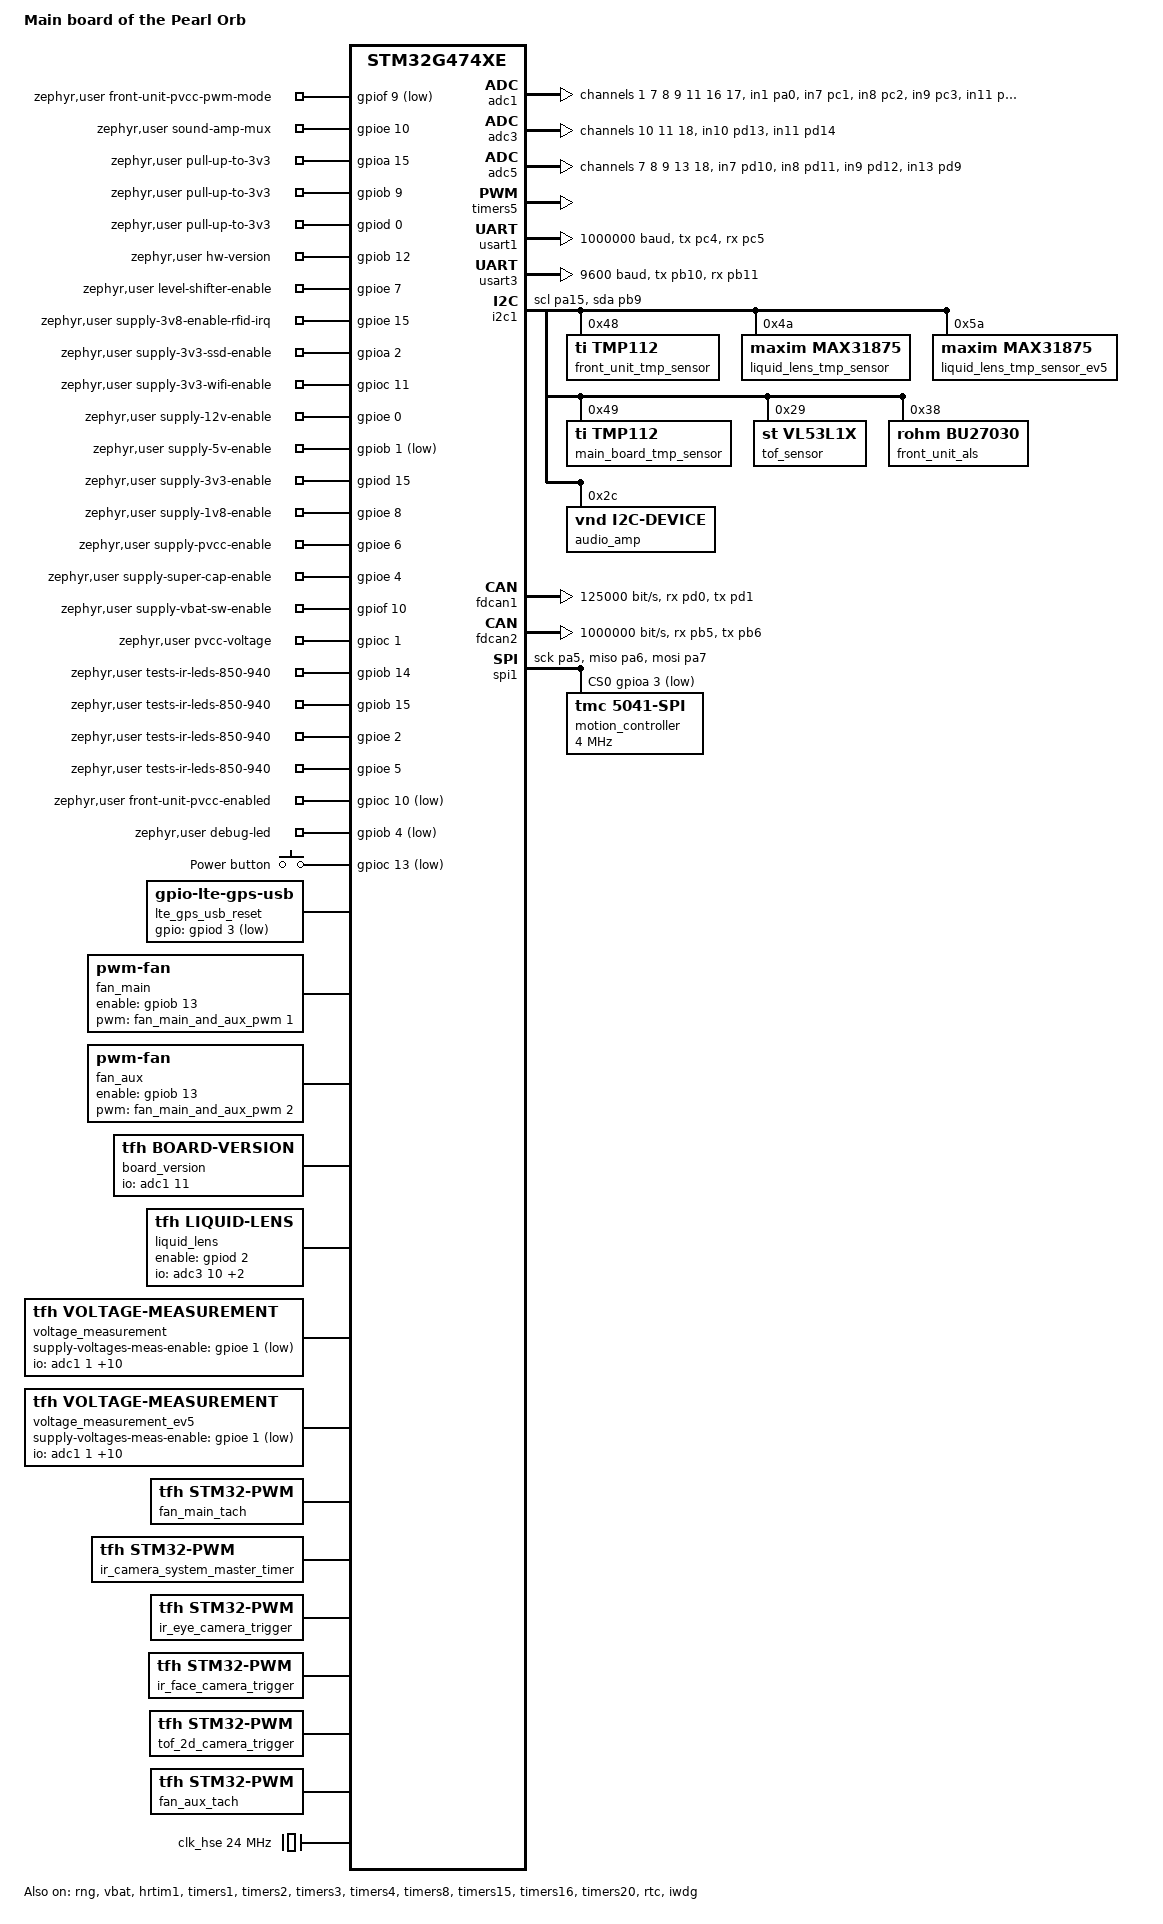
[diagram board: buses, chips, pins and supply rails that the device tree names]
/dts-v1/;
#include <st/g4/stm32g474Xe.dtsi>
#include <st/g4/stm32g474v(b-c-e)tx-pinctrl.dtsi>
#include "../stm32g474-hrtim.dtsi"

// see stm32g4xx_ll_dmamux.h
#define DMAMUX_REQ_USART1_RX 0x18
#define DMAMUX_REQ_USART1_TX 0x19
#define DMAMUX_REQ_USART3_RX 0x1C
#define DMAMUX_REQ_USART3_TX 0x1D
#define DMAMUX_REQ_TIM1_UP   0x2E
#define DMAMUX_REQ_TIM20_UP  0x5A

#define DMA_CONFIG_DIR_SHIFT 6
#define DMA_DIR_MEM_TO_PERIPH 1
#define DMA_DIR_PERIPH_TO_MEM 2
#define DMA_MEM_INC_ADDR_SHIFT 10

#define DMA_CONFIG_CYCLIC_SHIFT  5
#define DMA_CONFIG_CIRCULAR_MODE  1


/ {
    model = "Main board of the Pearl Orb";
    compatible = "tfh,pearl_main";

    chosen {
        // app in slot0_partition by default
        // the bootloader uses an overlay to redefine this
        zephyr,code-partition = &slot0_partition;

        zephyr,sram = &sram0;
        zephyr,flash = &flash0;
        zephyr,canbus = &fdcan1;
    };

    aliases {
        battery-can-bus = &fdcan2;
        watchdog0 = &iwdg;
        secondary-slot = &slot1_partition;
        rtc = &rtc;
    };

    zephyr,user {
        front-unit-pvcc-pwm-mode-gpios = <&gpiof 9 GPIO_ACTIVE_LOW>;
        // This is a mux for who controls the audio amp
        // 1 == MCU

        // 0 == Jetson
        sound-amp-mux-gpios = <&gpioe 10 GPIO_ACTIVE_HIGH>;

        // hooked to 3v3 by pull-up resistors or ESD protection diodes within connected ICs
        // turn low when booting to ensure 3v3 (uc) does not propagate to 3v3 power rail
        // which would trigger the safety circuitry
        pull-up-to-3v3-gpios =
                <&gpioa 15 GPIO_ACTIVE_HIGH> /* i2c scl */,
                <&gpiob 9 GPIO_ACTIVE_HIGH> /* i2c sda */,
                <&gpiod 0 GPIO_ACTIVE_HIGH> /* can1 rx (single wire can) */;

        // GPIO used to get hardware version dynamically
        hw-version-gpios = <&gpiob 12 GPIO_ACTIVE_HIGH>;
        jetson_serial = <&usart1>;
        gnss = <&usart3>;
        level-shifter-enable-gpios = <&gpioe 7 GPIO_ACTIVE_HIGH>;
        // enable pin for +3V8 converter on EV1...4, RFID_IRQ on EV5
        supply-3v8-enable-rfid-irq-gpios = <&gpioe 15 GPIO_ACTIVE_HIGH>;
        // enable pin for +3V3_SSD and +3V3_WIFI only on EV5
        supply-3v3-ssd-enable-gpios = <&gpioa 2 GPIO_ACTIVE_HIGH>;
        supply-3v3-wifi-enable-gpios = <&gpioc 11 GPIO_ACTIVE_HIGH>;
        supply-12v-enable-gpios = <&gpioe 0 GPIO_ACTIVE_HIGH>;
        supply-5v-enable-gpios = <&gpiob 1 GPIO_ACTIVE_LOW>;
        supply-3v3-enable-gpios = <&gpiod 15 GPIO_ACTIVE_HIGH>;
        supply-1v8-enable-gpios = <&gpioe 8 GPIO_ACTIVE_HIGH>;
        supply-pvcc-enable-gpios = <&gpioe 6 GPIO_ACTIVE_HIGH>;
        supply-super-cap-enable-gpios = <&gpioe 4 GPIO_ACTIVE_HIGH>;
        supply-vbat-sw-enable-gpios = <&gpiof 10 GPIO_ACTIVE_HIGH>;

        // used by boot.c when voltage measurements module is not available yet
        pvcc-voltage-gpios = <&gpioc 1 GPIO_ACTIVE_HIGH>;

        tests-ir-leds-850-940-gpios =
            <&gpiob 14 GPIO_ACTIVE_HIGH /* 850nm left */ >,
            <&gpiob 15 GPIO_ACTIVE_HIGH /* 850nm right */ >,
            <&gpioe 2 GPIO_ACTIVE_HIGH /* 940nm left */ >,
            <&gpioe 5 GPIO_ACTIVE_HIGH /* 940nm right */ >;
        front-unit-pvcc-enabled-gpios = <&gpioc 10 GPIO_ACTIVE_LOW>;

        debug-led-gpios = <&gpiob 4 GPIO_ACTIVE_LOW>;

        // Voltage at VREF+ pin on EV5 hardware (in contrast VREF+ is connected to VDD on EV1...4)
        ev5-vref-mv = <2048>;

        // VREF+ is connected to VDD on EV1...4
        ev1-vref-mv = <3300>;
    };

    buttons {
        compatible = "gpio-keys";

        power_button {
            gpios = <&gpioc 13 GPIO_ACTIVE_LOW>;
            label = "Power button";
        };
    };

    jetson_power_pins {
        compatible = "gpio-jetson-power";

        shutdown_request {
            // input
            // Jetson module uses this to request a shutdown sequence
            gpios = <&gpiob 7 GPIO_ACTIVE_LOW>;
        };

        power_enable {
            // output
            // this signals the Jetson module to turn on an off
            gpios = <&gpioe 12 GPIO_ACTIVE_HIGH>;
        };

        system_reset {
            // bidirectional
            // drive low to reset
            // driven by Jetson to indicate power sequence is complete
            gpios = <&gpioe 11 GPIO_ACTIVE_LOW>;

        };

        module_sleep {
            // input
            // when driven low indicates that the module has gone to sleep
            gpios = <&gpiof 2 GPIO_ACTIVE_LOW>;
        };

        sleep_wake {
            // output
            // drive high to indicate that the Jetson should enter sleep mode
            gpios = <&gpioe 9 GPIO_ACTIVE_LOW>;
        };
    };

    lte_gps_usb_reset {
        compatible = "gpio-lte-gps-usb";
        gpios = <&gpiod 3 GPIO_ACTIVE_LOW>;
    };

    fan_main {
        compatible = "pwm-fan";
        pwms = <&fan_main_and_aux_pwm 1 40000 PWM_POLARITY_NORMAL>;

        // To be clear, the enable/disable signal only does something
        // on mainboard versions 3.2+, but this pin is unused on
        // mainboard 3.1, so no harm no foul
        enable-gpios = <&gpiob 13 GPIO_ACTIVE_HIGH>;
    };

    fan_aux {
        compatible = "pwm-fan";
        pwms = <&fan_main_and_aux_pwm 2 40000 PWM_POLARITY_NORMAL>;

        // To be clear, the enable/disable signal only does something
        // on mainboard versions 3.2+, but this pin is unused on
        // mainboard 3.1, so no harm no foul
        enable-gpios = <&gpiob 13 GPIO_ACTIVE_HIGH>;
    };

    board_version {
        compatible = "tfh,board-version";
        io-channels = <&adc1 11>;
    };

    liquid_lens {
        compatible = "tfh,liquid-lens";

        io-channels = <&adc3 10>, <&adc3 11>, <&adc3 18>;
        io-channel-names = "ina240_ref", "ina240_sig", "vrefint";

        enable-gpios = <&gpiod 2 GPIO_ACTIVE_HIGH>;

        // array: EV1..4, EV5
        amplifier-gains = <20>, <10>;
        shunt-resistor-ohms = "0.15f", "0.15f";
    };

    voltage_measurement {
        compatible = "tfh,voltage-measurement";

        // enable opamps to allow for voltage measurements of the power supplies
        supply-voltages-meas-enable-gpios = <&gpioe 1 GPIO_ACTIVE_LOW>;

        // io-channels = <adc-device channel-number>, ...
        // adc1:
        // [0]: VBAT_SW
        //      EV1...4: R1=442k, R2=100k
        // [1]: PVCC
        //      EV1...4: R1=442k, R2=47k
        // [2]: 12V
        //      EV1...4: R1=47k, R2=10k
        // [3]: 12V_CAPS
        //      EV1...4: R1=47k, R2=10k
        // [4]: Die Temperature
        // [5]: Vbat / 3
        // adc5:
        // [6]: 1V8
        //      EV1...4: R1=27R, R2=inf
        // [7]: 3V3
        //      EV1...4: R1=10k, R2=47k
        // [8]: 5V
        //      EV1...4: R1=10k, R2=10k
        // [9]: 3V3_SSD (EV5) / 3V8 (EV1…EV4)
        //      EV1...4: R1=10k, R2=47k
        // [10]: VREFINT (typ. 1.212 V)
        io-channels = <&adc1 1>, <&adc1 7>, <&adc1 8>, <&adc1 9>, <&adc1 16>, <&adc1 17>, <&adc5 7>, <&adc5 8>, <&adc5 9>, <&adc5 13>, <&adc5 18>;
        io-channel-names = "vbat_sw", "pvcc", "12v", "12v_caps", "die_temp", "3v3_uc", "1v8", "3v3", "5v", "3v3_ssd_3v8", "vrefint";
        voltage-divider-scalings = "5.42f", "10.40f", "5.7f", "5.7f", "1.0f", "3.0f", "1.0f", "1.213f", "2.0f", "1.213f", "1.0f";
    };

    voltage_measurement_ev5 {
        compatible = "tfh,voltage-measurement";

        // enable opamps to allow for voltage measurements of the power supplies
        supply-voltages-meas-enable-gpios = <&gpioe 1 GPIO_ACTIVE_LOW>;

        // io-channels = <adc-device channel-number>, ...
        // adc1:
        // [0]: VBAT_SW
        //      EV5: R1=94k, R2=10k
        // [1]: PVCC
        //      EV5: R1=442k, R2=23.5k
        // [2]: 12V
        //      EV5: R1=57k, R2=10k
        // [3]: 12V_CAPS
        //      EV5: R1=57k, R2=10k
        // [4]: Die Temperature
        // [5]: Vbat / 3
        // adc5:
        // [6]: 1V8
        //      EV5: R1=27R, R2=inf
        // [7]: 3V3
        //      EV5: R1=10k, R2=10k
        // [8]: 5V
        //      EV5: R1=20k, R2=10k
        // [9]: 3V3_SSD (EV5) / 3V8 (EV1…EV4)
        //      EV5: R1=10k, R2=10k
        // [10]: VREFINT (typ. 1.212 V)
        io-channels = <&adc1 1>, <&adc1 7>, <&adc1 8>, <&adc1 9>, <&adc1 16>, <&adc1 17>, <&adc5 7>, <&adc5 8>, <&adc5 9>, <&adc5 13>, <&adc5 18>;
        io-channel-names = "vbat_sw", "pvcc", "12v", "12v_caps", "die_temp", "3v3_uc", "1v8", "3v3", "5v", "3v3_ssd_3v8", "vrefint";
        voltage-divider-scalings = "10.4f", "19.81f", "6.7f", "6.7f", "1.0f", "3.0f", "1.0f", "2.0f", "3.0f", "2.0f", "1.0f";
    };
};

&rng {
    clocks = <&rcc STM32_CLOCK_BUS_AHB2 0x04000000>,
             <&rcc STM32_SRC_HSI48 CLK48_SEL(0)>; // domain clock
    status = "okay";
};

&vbat {
    status = "okay";
};

// used to measure battery voltage, hardware revision
// & die temperature (channel 16)
&adc1 {
    // dmamux1: 7 = dma-channel 8; 5 = DMA request MUX input (ADC1) from reference manual RM0440
    dmas = < &dmamux1 7 5 (STM32_DMA_PERIPH_TO_MEMORY |
    STM32_DMA_MEM_INC |  STM32_DMA_MEM_16BITS | STM32_DMA_PERIPH_16BITS) >;
    dma-names = "dmamux";

    status = "okay";
    pinctrl-0 = <&adc1_in1_pa0 &adc1_in7_pc1 &adc1_in8_pc2 &adc1_in9_pc3 &adc1_in11_pb12>;
    pinctrl-names = "default";
    st,adc-clock-source = "SYNC";
    st,adc-prescaler = <4>;
    vref-mv = <3300>;

    #address-cells = <1>;
    #size-cells = <0>;

    channel@1 {		// VBAT_SW
        reg = <1>;
        zephyr,acquisition-time = <ADC_ACQ_TIME(ADC_ACQ_TIME_TICKS, 48)>;	// ~1.1 µs @ ADC_CLK = 42.5 MHz
        zephyr,gain = "ADC_GAIN_1";
        zephyr,reference = "ADC_REF_INTERNAL";
        zephyr,resolution = <12>;
    };

    channel@7 {		// PVCC
        reg = <7>;
        zephyr,acquisition-time = <ADC_ACQ_TIME(ADC_ACQ_TIME_TICKS, 48)>;	// ~1.1 µs @ ADC_CLK = 42.5 MHz
        zephyr,gain = "ADC_GAIN_1";
        zephyr,reference = "ADC_REF_INTERNAL";
        zephyr,resolution = <12>;
    };

    channel@8 {		// 12V
        reg = <8>;
        zephyr,acquisition-time = <ADC_ACQ_TIME(ADC_ACQ_TIME_TICKS, 48)>;	// ~1.1 µs @ ADC_CLK = 42.5 MHz
        zephyr,gain = "ADC_GAIN_1";
        zephyr,reference = "ADC_REF_INTERNAL";
        zephyr,resolution = <12>;
    };

    channel@9 {		// 12V_CAPS
        reg = <9>;
        zephyr,acquisition-time = <ADC_ACQ_TIME(ADC_ACQ_TIME_TICKS, 48)>;	// ~1.1 µs @ ADC_CLK = 42.5 MHz
        zephyr,gain = "ADC_GAIN_1";
        zephyr,reference = "ADC_REF_INTERNAL";
        zephyr,resolution = <12>;
    };

    channel@b {	        // HW_VERSION
        reg = <11>;
        zephyr,acquisition-time = <ADC_ACQ_TIME(ADC_ACQ_TIME_TICKS, 48)>;	// ~1.1 µs @ ADC_CLK = 42.5 MHz
        zephyr,gain = "ADC_GAIN_1";
        zephyr,reference = "ADC_REF_INTERNAL";
        zephyr,resolution = <12>;
    };

    channel@10 {	// die temperature
        reg = <16>;
        // Minimum required sampling time is 5 µs according to the datasheet
        // Our ADC is running with 42.5 MHz (AHB = 170 MHz / 4)
        // This means we need to set the sampling time to at least 5 µs * 42.5 MHz = 212.5 ADC Ticks
        zephyr,acquisition-time = <ADC_ACQ_TIME(ADC_ACQ_TIME_TICKS, 248)>;	// ~5.8 µs @ ADC_CLK = 42.5 MHz
        zephyr,gain = "ADC_GAIN_1";
        zephyr,reference = "ADC_REF_INTERNAL";
        zephyr,resolution = <12>;
    };

    channel@11 {	// VBAT / 3 = 3V3_UC / 3
        reg = <17>;
        zephyr,acquisition-time = <ADC_ACQ_TIME(ADC_ACQ_TIME_TICKS, 248)>;	// ~5.8 µs @ ADC_CLK = 42.5 MHz
        zephyr,gain = "ADC_GAIN_1";
        zephyr,reference = "ADC_REF_INTERNAL";
        zephyr,resolution = <12>;
    };
};

// used by liquid_lens module
&adc3 {
    // dmamux1: 10 = dma-channel 11; 37 = DMA request MUX input (ADC3) from reference manual RM0440
    dmas = < &dmamux1 10 37 (STM32_DMA_PERIPH_TO_MEMORY |STM32_DMA_MEM_INC |
                           STM32_DMA_MEM_16BITS | STM32_DMA_PERIPH_16BITS) >;
    dma-names = "dmamux";
    status = "okay";
    pinctrl-0 = <&adc3_in10_pd13 &adc3_in11_pd14>;
    pinctrl-names = "default";
    st,adc-clock-source = "SYNC";
    st,adc-prescaler = <4>;
    vref-mv = <3300>;

    #address-cells = <1>;
    #size-cells = <0>;

    channel@a {		// INA240 REF
        reg = <10>;
        zephyr,acquisition-time = <ADC_ACQ_TIME(ADC_ACQ_TIME_TICKS, 48)>;	// ~1.1 µs @ ADC_CLK = 42.5 MHz
        zephyr,gain = "ADC_GAIN_1";
        zephyr,reference = "ADC_REF_INTERNAL";
        zephyr,resolution = <12>;
    };

    channel@b {		// INA240 SIG
        reg = <11>;
        zephyr,acquisition-time = <ADC_ACQ_TIME(ADC_ACQ_TIME_TICKS, 48)>;	// ~1.1 µs @ ADC_CLK = 42.5 MHz
        zephyr,gain = "ADC_GAIN_1";
        zephyr,reference = "ADC_REF_INTERNAL";
        zephyr,resolution = <12>;
    };

    channel@12 {	// VREFINT (typ. 1.212 V)
        reg = <18>;
        // Minimum required sampling time is 4 µs according to the datasheet
        // Our ADC is running with 42.5 MHz (AHB = 170 MHz / 4)
        // This means we need to set the sampling time to at least 4 µs * 42.5 MHz = 170 ADC Ticks
        zephyr,acquisition-time = <ADC_ACQ_TIME(ADC_ACQ_TIME_TICKS, 248)>;	// ~5.8 µs @ ADC_CLK = 42.5 MHz
        zephyr,gain = "ADC_GAIN_1";
        zephyr,reference = "ADC_REF_INTERNAL";
        zephyr,resolution = <12>;
    };
};

&adc5 {
    // dmamux1: 9 = dma-channel 10; 39 = DMA request MUX input (ADC5) from reference manual RM0440
    dmas = < &dmamux1 9 39 (STM32_DMA_PERIPH_TO_MEMORY |
	STM32_DMA_MEM_INC |  STM32_DMA_MEM_16BITS | STM32_DMA_PERIPH_16BITS) >;
    dma-names = "dmamux";
    status = "okay";
    pinctrl-0 = <&adc5_in7_pd10 &adc5_in8_pd11 &adc5_in9_pd12 &adc5_in13_pd9>;
    pinctrl-names = "default";
    st,adc-clock-source = "SYNC";
    st,adc-prescaler = <4>;
    vref-mv = <3300>;

    #address-cells = <1>;
    #size-cells = <0>;

    channel@7 {		// 1V8
        reg = <7>;
        zephyr,acquisition-time = <ADC_ACQ_TIME(ADC_ACQ_TIME_TICKS, 48)>;	// ~1.1 µs @ ADC_CLK = 42.5 MHz
        zephyr,gain = "ADC_GAIN_1";
        zephyr,reference = "ADC_REF_INTERNAL";
        zephyr,resolution = <12>;
    };

    channel@8 {		// 3V3
        reg = <8>;
        zephyr,acquisition-time = <ADC_ACQ_TIME(ADC_ACQ_TIME_TICKS, 48)>;	// ~1.1 µs @ ADC_CLK = 42.5 MHz
        zephyr,gain = "ADC_GAIN_1";
        zephyr,reference = "ADC_REF_INTERNAL";
        zephyr,resolution = <12>;
    };

    channel@9 {		// 5V
        reg = <9>;
        zephyr,acquisition-time = <ADC_ACQ_TIME(ADC_ACQ_TIME_TICKS, 48)>;	// ~1.1 µs @ ADC_CLK = 42.5 MHz
        zephyr,gain = "ADC_GAIN_1";
        zephyr,reference = "ADC_REF_INTERNAL";
        zephyr,resolution = <12>;
    };

    channel@d {	        // 3V3_SSD (EV5) / 3V8 (EV1…EV4)
        reg = <13>;
        zephyr,acquisition-time = <ADC_ACQ_TIME(ADC_ACQ_TIME_TICKS, 48)>;	// ~1.1 µs @ ADC_CLK = 42.5 MHz
        zephyr,gain = "ADC_GAIN_1";
        zephyr,reference = "ADC_REF_INTERNAL";
        zephyr,resolution = <12>;
    };

    channel@12 {	// VREFINT (typ. 1.212 V)
        reg = <18>;
        // Minimum required sampling time is 4 µs according to the datasheet
	// Our ADC is running with 42.5 MHz (AHB = 170 MHz / 4)
	// This means we need to set the sampling time to at least 4 µs * 42.5 MHz = 170 ADC Ticks
        zephyr,acquisition-time = <ADC_ACQ_TIME(ADC_ACQ_TIME_TICKS, 248)>;	// ~5.8 µs @ ADC_CLK = 42.5 MHz
        zephyr,gain = "ADC_GAIN_1";
        zephyr,reference = "ADC_REF_INTERNAL";
        zephyr,resolution = <12>;
    };
};

&hrtim1 {
    status = "okay";

    liquid_lens: liquid_lens {
        compatible = "tfh,stm32-pwm";
        pinctrl-0 = <&hrtim1_cha1_pa8 &hrtim1_cha2_pa9 &hrtim1_chb1_pa10 &hrtim1_chb2_pa11>;
        pinctrl-names = "default";
    };
};

&timers1 {
    status = "okay";

    operator_rgb_leds: operator_rgb_leds {
        compatible = "worldsemi,ws2812-pwm-stm32";
        pinctrl-0 = <&tim1_ch1_pc0>;
        pinctrl-names = "default";
        timer-channel = <1>;
        dmas = <&dmamux1 1 DMAMUX_REQ_TIM1_UP
                (STM32_DMA_PERIPH_TX | STM32_DMA_PERIPH_16BITS |
                 STM32_DMA_PRIORITY_HIGH)>;
        dma-names = "tx";
        num-leds = <5>;
    };
};

&timers2 {
    status = "okay";

    fan_main_tach: fan_main_tach {
        compatible = "tfh,stm32-pwm";
        pinctrl-0 = <&tim2_ch3_pd7>;
        pinctrl-names = "default";
        channels = <3>;
    };
};

&timers3 {
    status = "okay";

    led_940nm: led_940nm {
        compatible = "tfh,stm32-pwm";
        pinctrl-0 = <&tim3_ch1_pe2 &tim3_ch4_pe5>;
        pinctrl-names = "default";
        channels = <1 4>;
    };
};

&timers4 {
    status = "okay";

    ir_camera_system_master_timer: ir_camera_system_master_timer {
        compatible = "tfh,stm32-pwm";
        pinctrl-names = "default";
        pinctrl-0 = <>;
        channels = <1>;
    };
};

&timers5 {
    status = "okay";

    fan_main_and_aux_pwm: pwm {
        status = "okay";
        pinctrl-0 = <&tim5_ch1_pb2 &tim5_ch2_pa1>;
        pinctrl-names = "default";
    };
};

&timers8 {
    status = "okay";

    // AKA CAM0
    ir_eye_camera_trigger: ir_eye_camera_trigger {
        compatible = "tfh,stm32-pwm";
        pinctrl-0 = <&tim8_ch3_pc8>;
        pinctrl-names = "default";
        channels = <3>;
    };

    // AKA CAM2
    ir_face_camera_trigger: ir_face_camera_trigger {
        compatible = "tfh,stm32-pwm";
        pinctrl-0 = <&tim8_ch4_pc9>;
        pinctrl-names = "default";
        channels = <4>;
    };

    // AKA CAM3
    tof_2d_camera_trigger: tof_2d_camera_trigger {
        compatible = "tfh,stm32-pwm";
        pinctrl-0 = <&tim8_ch1_pc6>;
        pinctrl-names = "default";
        channels = <1>;
    };
};

&timers15 {
    status = "okay";

    led_850nm: led_850nm {
        compatible = "tfh,stm32-pwm";
        pinctrl-0 = <&tim15_ch1_pb14 &tim15_ch2_pb15>;
        pinctrl-names = "default";
        channels = <1 2>;
    };
};

&timers16 {
    status = "okay";

    fan_aux_tach: fan_aux_tach {
        compatible = "tfh,stm32-pwm";
        pinctrl-0 = <&tim16_ch1_pa12>;
        pinctrl-names = "default";
        channels = <1>;
    };
};

&timers20 {
    status = "okay";

    front_unit_rgb_leds_w: front_unit_rgb_leds_w {
        compatible = "worldsemi,ws2812-pwm-stm32";
        pinctrl-0 = <&tim20_ch2_pe3>;
        pinctrl-names = "default";
        timer-channel = <2>;
        dmas = <&dmamux1 2 DMAMUX_REQ_TIM20_UP
                (STM32_DMA_PERIPH_TX | STM32_DMA_PERIPH_16BITS |
                 STM32_DMA_PRIORITY_HIGH)>;
        dma-names = "tx";
        num-leds = <233>;
    };
};

// needed for ws2812, user & operator LEDs, USART
&dma1 {
    status = "okay";
};

&dma2 {
    status = "okay";
};

// needed for ws2812 LEDs
&dmamux1 {
    status = "okay";
};

&clk_hse {
    clock-frequency = <DT_FREQ_M(24)>;
    status = "okay";
};

&clk_hsi48 {
    status = "okay";
};

&pll {
    div-m = <6>;
    mul-n = <85>;
    div-p = <7>;
    div-q = <2>;
    div-r = <2>;
    clocks = <&clk_hse>;
    status = "okay";
};

&rcc {
    clocks = <&pll>;
    clock-frequency = <DT_FREQ_M(170)>;
    ahb-prescaler = <1>;
    apb1-prescaler = <1>;
    apb2-prescaler = <1>;
};

// Jetson
&usart1 {
    pinctrl-0 = <&usart1_tx_pc4 &usart1_rx_pc5>;
    pinctrl-names = "default";
    current-speed = <1000000>;
    status = "okay";

    // DMA1 channels 3 and 4 (1 and 2 used by front and operator LEDs (PWM), 5 and 6 used by GNSS (usart3)).
    dmas = <&dma1 3 DMAMUX_REQ_USART1_RX ((DMA_DIR_PERIPH_TO_MEM << DMA_CONFIG_DIR_SHIFT) | (1 << DMA_MEM_INC_ADDR_SHIFT) | (DMA_CONFIG_CIRCULAR_MODE << DMA_CONFIG_CYCLIC_SHIFT))>,
           <&dma1 4 DMAMUX_REQ_USART1_TX ((DMA_DIR_MEM_TO_PERIPH << DMA_CONFIG_DIR_SHIFT) | (1 << DMA_MEM_INC_ADDR_SHIFT) | (DMA_CONFIG_CIRCULAR_MODE << DMA_CONFIG_CYCLIC_SHIFT))>;
    dma-names = "rx", "tx";
};

// debug
&usart2 {
    pinctrl-0 = <&usart2_tx_pd5 &usart2_rx_pd6>;
    pinctrl-names = "default";
    current-speed = <115200>;
    status = "disabled";
};

// GNSS module
&usart3 {
    pinctrl-0 = <&usart3_tx_pb10 &usart3_rx_pb11>;
    pinctrl-names = "default";
    current-speed = <9600>;
    status = "okay";

    // DMA1 channels 5 and 6 (1 and 2 used by front and operator LEDs (PWM), 3 and 4 by usart1).
    dmas = <&dma1 5 DMAMUX_REQ_USART3_RX ((DMA_DIR_PERIPH_TO_MEM << DMA_CONFIG_DIR_SHIFT) | (1 << DMA_MEM_INC_ADDR_SHIFT))>,
           <&dma1 6 DMAMUX_REQ_USART3_TX ((DMA_DIR_MEM_TO_PERIPH << DMA_CONFIG_DIR_SHIFT) | (1 << DMA_MEM_INC_ADDR_SHIFT))>;
    dma-names = "rx", "tx";
};

&clk_lsi {
    status = "okay";
};

&rtc {
    status = "okay";

    clocks = <&rcc STM32_CLOCK_BUS_APB1 0x00000400>,
             <&rcc STM32_SRC_LSI RTC_SEL(2)>;

    /* In STM32G4, the backup registers are defined as part of the TAMP
     * peripheral. This peripheral is not implemented in Zephyr yet, however,
     * the reference manual states that tamp_pclk is connected to rtc_pclk.
     * It makes sense to have BBRAM instantiated as a child of RTC, so that
     * the driver can verify that its parent device (RTC) is ready.
     */
    bbram: backup_regs {
        compatible = "st,stm32-bbram";
        st,backup-regs = <5>;
        status = "okay";
    };
};

&i2c1 {
    pinctrl-0 = <&i2c1_scl_pa15 &i2c1_sda_pb9>;
    pinctrl-names = "default";
    status = "okay";

    front_unit_tmp_sensor: tmp112@48 {
        compatible = "ti,tmp112";
        reg = <0x48>;
    };

    liquid_lens_tmp_sensor: maxim31875@4a {
        compatible = "maxim,max31875";
        reg = <0x4a>;
        conversions-per-second = "1";
        resolution = <8>;
        zephyr,deferred-init;
    };

    // on EV5 the I2C address of the MAX31875R2 is translated from 0x4a to 0x5a for solving an address conflict
    // between the I2C address of the liquid lens EEPROM and the NFC reader (both on 0x50)
    liquid_lens_tmp_sensor_ev5: maxim31875@5a {
        compatible = "maxim,max31875";
        reg = <0x5a>;
        conversions-per-second = "1";
        resolution = <8>;
        zephyr,deferred-init;
    };

    main_board_tmp_sensor: tmp112@49 {
        compatible = "ti,tmp112";
        reg = <0x49>;
    };

    tof_sensor: vl53l1x@29 {
        compatible = "st,vl53l1x";
        reg = <0x29>;
    };

    front_unit_als: bu27030@38 {
        compatible = "rohm,bu27030";
        reg = <0x38>;
    };

    audio_amp: tas5805m@2c {
        compatible = "vnd,i2c-device";
        reg = <0x2c>;
        status = "okay";
    };
};

&fdcan1 {
    pinctrl-0 = <&fdcan1_rx_pd0 &fdcan1_tx_pd1>;
    pinctrl-names = "default";

    clocks = <&rcc STM32_CLOCK(APB1, 25U)>,
             <&rcc STM32_SRC_HSE FDCAN_SEL(0)>;

    /*
     * 1. Choose the highest available CAN clock frequency: PCLK1 is used
     * 2. Set the BRPA bit-rate prescaler equal BRPB: done within Zephyr
     * 3. Choose BRPA and BRPD as low as possible: done within Zephyr
     * 4. Configure all CAN FD nodes to have the same arbitration phase SP
     *    and the same data phase SP: 85,2%
     * 5. Chose sjwD and sjwA as large as possible: MIN(PS1,PS2). Configuration
     * on the Jetson allows for a maximum of 4. We use 4 to keep the
     * configuration homogeneous (same Tq on all nodes)
     * 6. Enable TDC for data bit-rates higher than 1 Mbit/s
     */
    bitrate = <125000>;
    sample-point = <852>;
    bitrate-data = <1000000>;
    sample-point-data = <853>; // closest value
    status = "okay";
};

// For battery communications
&fdcan2 {
    pinctrl-0 = <&fdcan2_rx_pb5 &fdcan2_tx_pb6>;
    pinctrl-names = "default";

    clocks = <&rcc STM32_CLOCK(APB1, 25U)>,
             <&rcc STM32_SRC_HSE FDCAN_SEL(0)>;

    bitrate = <1000000>;
    sample-point = <853>;
    bitrate-data = <1000000>;
    sample-point-data = <853>;
    status = "okay";
};

&spi1 {
    pinctrl-0 = <&spi1_sck_pa5 &spi1_miso_pa6 &spi1_mosi_pa7>;
    pinctrl-names = "default";
    cs-gpios = <&gpioa 3 GPIO_ACTIVE_LOW>;
    status = "okay";

    motion_controller: motion_controller@0 {
        compatible = "tmc,5041-spi";
        reg = <0>;
        spi-max-frequency = <4000000>;
        status = "okay";
    };
};

&iwdg {
    status = "okay";
};

&flash0 {
    /*
     * Base address: 0x8000000
     * For more information, see:
     * http://docs.zephyrproject.org/latest/guides/dts/index.html#flash-partitions
     */
    partitions {
        compatible = "fixed-partitions";
        #address-cells = <1>;
        #size-cells = <1>;

        /* 48KiB for bootloader */
        boot_partition: partition@0 {
            label = "mcuboot";
            reg = <0x00000000 0x0000C000>;
            read-only;
        };

        /* 224KiB per slot */
        // 0x800C000
        slot0_partition: partition@C000 {
            label = "image-0";
            reg = <0x0000C000 0x00038000>;
        };
        // 0x8044000
        slot1_partition: partition@44000 {
            label = "image-1";
            reg = <0x00044000 0x00038000>;
        };

        /* 8KiB scratch */
        scratch_partition: partition@7C000 {
            label = "image-scratch";
            reg = <0x0007C000 0x00002000>;
        };

        /* 4KiB reserved for app storage partition */
        storage_partition: partition@7E000 {
            label = "storage";
            reg = <0x0007E000 0x00001000>;
        };

        /* 4KiB reserved for configuration partition */
        config_partition: partition@7F000 {
            label = "config";
            reg = <0x0007F000 0x00001000>;
        };
    };
};
